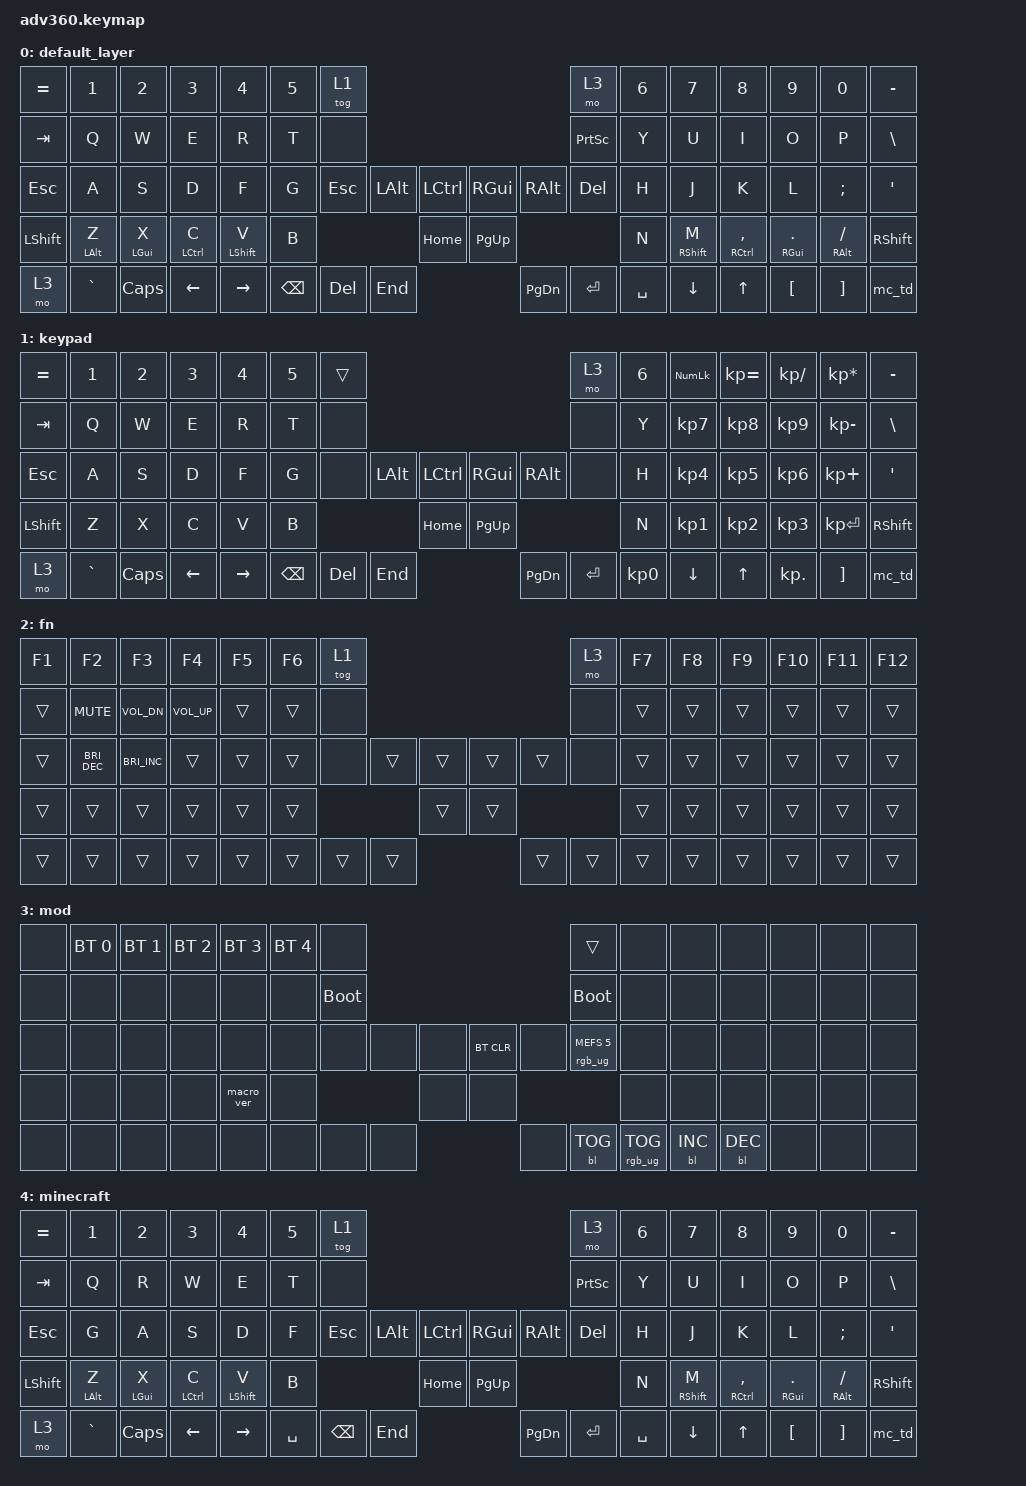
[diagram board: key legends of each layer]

/*
 * Copyright (c) 2020 The ZMK Contributors
 *
 * SPDX-License-Identifier: MIT
 */


/* THIS FILE WAS GENERATED!
 *
 * This file was generated automatically. You may or may not want to
 * edit it directly.
 */

#include <behaviors.dtsi>
#include <dt-bindings/zmk/keys.h>
#include <dt-bindings/zmk/bt.h>
#include <dt-bindings/zmk/rgb.h>
#include <dt-bindings/zmk/stp.h>
#include <dt-bindings/zmk/backlight.h>
#include <dt-bindings/zmk/pointing.h>
#include "./keypos_adv360.h"
#define KEYS_L LN0 LN1 LN2 LN3 LN4 LN5 LT0 LT1 LT2 LT3 LT4 LT5 LM0 LM1 LM2 LM3 LM4 LM5 LB0 LB1 LB2 LB3 LB4 LB5
#define KEYS_R RN0 RN1 RN2 RN3 RN4 RN5 RT0 RT1 RT2 RT3 RT4 RT5 RM0 RM1 RM2 RM3 RM4 RM5 RB0 RB1 RB2 RB3 RB4 RB5
#define THUMBS LH0 LH1 LH2 RH0 RH1 RH2

/ {
  behaviors {
	  #include "macros.dtsi"
      #include "version.dtsi"
      #ifndef VERSION_MACRO
      macro_ver: macro_ver {
        compatible = "zmk,behavior-macro";
        label = "macro_version";
        #binding-cells = <0>;
        bindings = <&kp RET>;
      };
      #endif

    hm: homerow_mods {
        compatible = "zmk,behavior-hold-tap";
        label = "HOMEROW_MODS";
        #binding-cells = <2>;
        tapping-term-ms = <250>;
        quick-tap-ms = <200>;
				global-quick-tap;
        flavor = "tap-preferred";
        bindings = <&kp>, <&kp>;
    };
	/* left-hand HRMs */
	hml: homerow_mods_left {
		compatible = "zmk,behavior-hold-tap";
		label = "HOMEROW_MODS_LEFT";
		#binding-cells = <2>;
		tapping-term-ms = <280>;
		quick-tap-ms = <175>;                // repeat on tap-into-hold
		flavor = "balanced";
		require-prior-idle-ms = <150>;
		bindings = <&kp>, <&kp>;
		hold-trigger-key-positions = <KEYS_R THUMBS>;
		hold-trigger-on-release;             // delay positional check until key-release
	};

	/* right-hand HRMs */
	hmr: homerow_mods_right {
		compatible = "zmk,behavior-hold-tap";
		label = "HOMEROW_MODS_RIGHT";
		#binding-cells = <2>;
		tapping-term-ms = <280>;
		quick-tap-ms = <175>;                // repeat on tap-into-hold
		flavor = "balanced";
		require-prior-idle-ms = <150>;
		bindings = <&kp>, <&kp>;
		hold-trigger-key-positions = <KEYS_L THUMBS>;
		hold-trigger-on-release;             // delay positional check until key-release
	};

	mc_td: minecraft_tap_dance {
		compatible = "zmk,behavior-tap-dance";
		label = "MINECRAFT_TD";
		#binding-cells = <0>;
		tapping-term-ms = <250>;
		bindings = <&mo 2>, <&tog 4>;
	};
  };

    keymap {
        compatible = "zmk,keymap";

		default_layer {
		  bindings = <
			&kp EQUAL &kp N1      &kp N2	  &kp N3	   &kp N4       &kp N5 &tog 1                                                             &mo 3     &kp N6 &kp N7       &kp N8			 &kp N9		   &kp N0         &kp MINUS
			&kp TAB   &kp Q       &kp W		  &kp E		   &kp R        &kp T  &none                                                              &kp PSCRN &kp Y  &kp U        &kp I			 &kp O		   &kp P          &kp BSLH
			&kp ESC   &kp A		  &kp S		  &kp D		   &kp F		&kp G  &kp ESC			 &kp LALT &kp LCTRL &kp RGUI  &kp RALT			  &kp DEL   &kp H  &kp J        &kp K			 &kp L		   &kp SEMI       &kp SQT
			&kp LSHFT &hml LALT Z &hml LGUI X &hml LCTRL C &hml LSHFT V &kp B							  &kp HOME  &kp PG_UP                               &kp N  &hmr RSHFT M &hmr RCTRL COMMA &hmr RGUI DOT &hmr RALT FSLH &kp RSHFT
			&mo 3     &kp GRAVE   &kp CAPS	  &kp LEFT	   &kp RIGHT					&kp BSPC &kp DEL  &kp END   &kp PG_DN &kp ENTER &kp SPACE                  &kp DOWN     &kp UP			 &kp LBKT	   &kp RBKT       &mc_td
		  >;
		};
		keypad {
		  bindings = <
			&kp EQUAL &kp N1    &kp N2   &kp N3   &kp N4     &kp N5 &trans                                                            &mo 3 &kp N6 &kp KP_NUM &kp KP_EQUAL &kp KP_DIVIDE &kp KP_MULTIPLY &kp MINUS
			&kp TAB   &kp Q     &kp W    &kp E    &kp R      &kp T  &none                                                             &none &kp Y  &kp KP_N7  &kp KP_N8    &kp KP_N9     &kp KP_MINUS    &kp BSLH
			&kp ESC   &kp A     &kp S    &kp D    &kp F      &kp G  &none           &kp LALT  &kp LCTRL &kp RGUI  &kp RALT			  &none &kp H  &kp KP_N4  &kp KP_N5    &kp KP_N6     &kp KP_PLUS     &kp SQT
			&kp LSHFT &kp Z     &kp X    &kp C    &kp V      &kp B                            &kp HOME  &kp PG_UP                           &kp N  &kp KP_N1  &kp KP_N2    &kp KP_N3     &kp KP_ENTER    &kp RSHFT
			&mo 3     &kp GRAVE &kp CAPS &kp LEFT &kp RIGHT                &kp BSPC &kp DEL   &kp END   &kp PG_DN &kp ENTER &kp KP_N0              &kp DOWN   &kp UP       &kp KP_DOT    &kp RBKT        &mc_td
		  >;
		};
		fn {
		  bindings = <
			&kp F1 &kp F2               &kp F3               &kp F4       &kp F5 &kp F6  &tog 1                                          &mo 3 &kp F7 &kp F8 &kp F9 &kp F10 &kp F11 &kp F12
			&trans &kp C_MUTE           &kp C_VOL_DN         &kp C_VOL_UP &trans &trans  &none                                           &none &trans &trans &trans &trans  &trans  &trans
			&trans &kp C_BRIGHTNESS_DEC &kp C_BRIGHTNESS_INC &trans       &trans &trans  &none        &trans &trans &trans &trans        &none &trans &trans &trans &trans  &trans  &trans
			&trans &trans               &trans               &trans       &trans &trans                      &trans &trans                     &trans &trans &trans &trans  &trans  &trans
			&trans &trans               &trans               &trans       &trans               &trans &trans &trans &trans &trans &trans              &trans &trans &trans  &trans  &trans
		  >;
		};
		mod {
		  bindings = <
			&none &bt BT_SEL 0 &bt BT_SEL 1 &bt BT_SEL 2 &bt BT_SEL 3 &bt BT_SEL 4 &none                                                                     &trans                 &none        &none        &none        &none &none &none
			&none &none        &none        &none        &none        &none        &bootloader                                                               &bootloader            &none        &none        &none        &none &none &none
			&none &none        &none        &none        &none        &none        &none                   &none &none &bt BT_CLR &none                      &rgb_ug RGB_MEFS_CMD 5 &none        &none        &none        &none &none &none
			&none &none        &none        &none        &macro_ver   &none                                      &none &none                                                        &none        &none        &none        &none &none &none
			&none &none        &none        &none        &none                                       &none &none &none &none      &bl BL_TOG &rgb_ug RGB_TOG                                     &bl BL_INC   &bl BL_DEC   &none &none &none
		  >;
		};
		minecraft {
		  bindings = <
			&kp EQUAL &kp N1      &kp N2	  &kp N3	   &kp N4       &kp N5 &tog 1                                                             &mo 3     &kp N6 &kp N7       &kp N8			 &kp N9		   &kp N0         &kp MINUS
			&kp TAB   &kp Q       &kp R		  &kp W		   &kp E        &kp T  &none                                                              &kp PSCRN &kp Y  &kp U        &kp I			 &kp O		   &kp P          &kp BSLH
			&kp ESC   &kp G		  &kp A		  &kp S		   &kp D		&kp F  &kp ESC			 &kp LALT &kp LCTRL &kp RGUI  &kp RALT			  &kp DEL   &kp H  &kp J        &kp K			 &kp L		   &kp SEMI       &kp SQT
			&kp LSHFT &hml LALT Z &hml LGUI X &hml LCTRL C &hml LSHFT V &kp B							  &kp HOME  &kp PG_UP                               &kp N  &hmr RSHFT M &hmr RCTRL COMMA &hmr RGUI DOT &hmr RALT FSLH &kp RSHFT
			&mo 3     &kp GRAVE   &kp CAPS	  &kp LEFT	   &kp RIGHT					&kp SPACE &kp BSPC &kp END   &kp PG_DN &kp ENTER &kp SPACE                  &kp DOWN     &kp UP			 &kp LBKT	   &kp RBKT       &mc_td
		  >;
		};
    };
};
